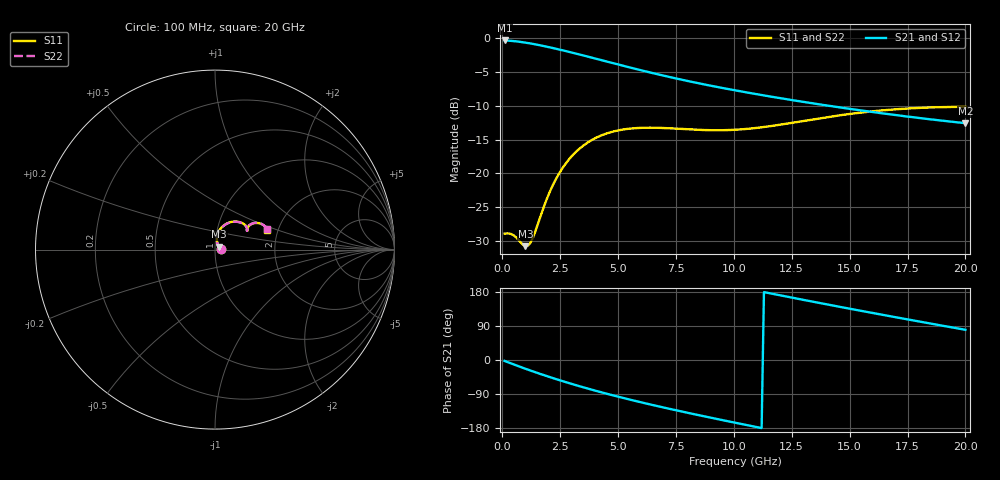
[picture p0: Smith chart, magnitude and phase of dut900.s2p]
! Touchstone file exported from HFSS 2024.1.0
!  File:  C:/UserFiles/LocalFiles/RDL_TSV_Batchsim/temp_RDL_TSV_900_1779953536.aedt
!  Generated:  03:48:26 PM May 28, 2026
!  Design:  RDL_TSV
!  Project:  temp_RDL_TSV_900_1779953536
!  Setup:  Setup1
!  Solution:  Sweep
! Variables:
!  dtsv = 10.94um
!  hbump = 3um
!  htsv = 94.52um
!  ldown = 668.35um
!  lrdl = 470.11um
!  p = 40
!  p1 = 43.31um
!  rhole = 10um
!  subl = 3885.49um
!  t = 450um
!  tdown = 2.13um
!  trdl = 2.06um
!  viad = 10um
!  wdown = 14.45um
!  wrdl = 23.97um
!  xbump = 18um
# GHz S MA R 50.000000
! Terminal data exported
! Port[1] = TM1_1_T1
! Port[2] = TM1_4_T1
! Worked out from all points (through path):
!   200 points, 100 MHz to 20 GHz, reference 50 ohm
!   highest |S21| = -0.32 dB at 100 MHz (marker M1); lowest = -12.6 dB at 20 GHz (marker M2)
!   group delay of S21, straight-line fit = 37 ps
!   lowest |S11| = -30.8 dB at 1 GHz (marker M3), VSWR 1.06, Z = 52.4 + j1.71 ohm
!   |S11| at or under -10 dB: start of sweep to end of sweep
!   |S22| runs from -30.8 to -10.2 dB; largest |S21 - S12| = 5.4e-14
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0.1  0.03572 2.5  0.9638 -2.4  0.9638 -2.4  0.03572 2.5
! Gamma 0 0 0 0
! Port Impedance 50 0 50 0
0.5  0.0346 10.5  0.953 -11.9  0.953 -11.9  0.03462 10.5
1  0.02883 34.3  0.9286 -23.1  0.9286 -23.1  0.02888 34.1
1.1  0.029 42.7  0.9228 -25.3  0.9228 -25.3  0.02904 42.4
1.3  0.03258 59.2  0.9102 -29.6  0.9102 -29.6  0.03256 58.9
1.9  0.06305 80.5  0.8682 -42.1  0.8682 -42.1  0.0628 80.3
2.4  0.09609 79.3  0.8305 -51.9  0.8305 -51.9  0.09565 79.1
2.9  0.1279 73.5  0.7921 -61.3  0.7921 -61.3  0.1273 73.3
3.5  0.1604 65.3  0.7463 -72.1  0.7463 -72.1  0.1595 65.2
4.2  0.1883 56.1  0.6947 -84.0  0.6947 -84.0  0.1872 55.9
5.1  0.2093 46.0  0.6335 -98.3  0.6335 -98.3  0.2079 45.9
5.9  0.2167 39.1  0.5848 -110.3  0.5848 -110.3  0.2151 39.1
6.8  0.217 33.8  0.5368 -123.1  0.5368 -123.1  0.2151 33.8
7.6  0.2137 31.2  0.4997 -134.0  0.4997 -134.0  0.2118 31.2
8.4  0.21 30.2  0.4672 -144.5  0.4672 -144.5  0.2081 30.4
10.1  0.2103 32.1  0.4101 -166.1  0.4101 -166.1  0.2085 32.4
11.8  0.2263 34.7  0.3649 173.1  0.3649 173.1  0.225 35.1
13.4  0.2504 34.9  0.3298 154.0  0.3298 154.0  0.2496 35.3
15  0.2749 32.7  0.3002 135.4  0.3002 135.4  0.2745 33.1
16.7  0.2952 28.9  0.2738 116.1  0.2738 116.1  0.2949 29.3
18.3  0.3065 25.0  0.2532 98.3  0.2532 98.3  0.3064 25.3
20  0.3106 21.1  0.235 79.7  0.235 79.7  0.3105 21.4
